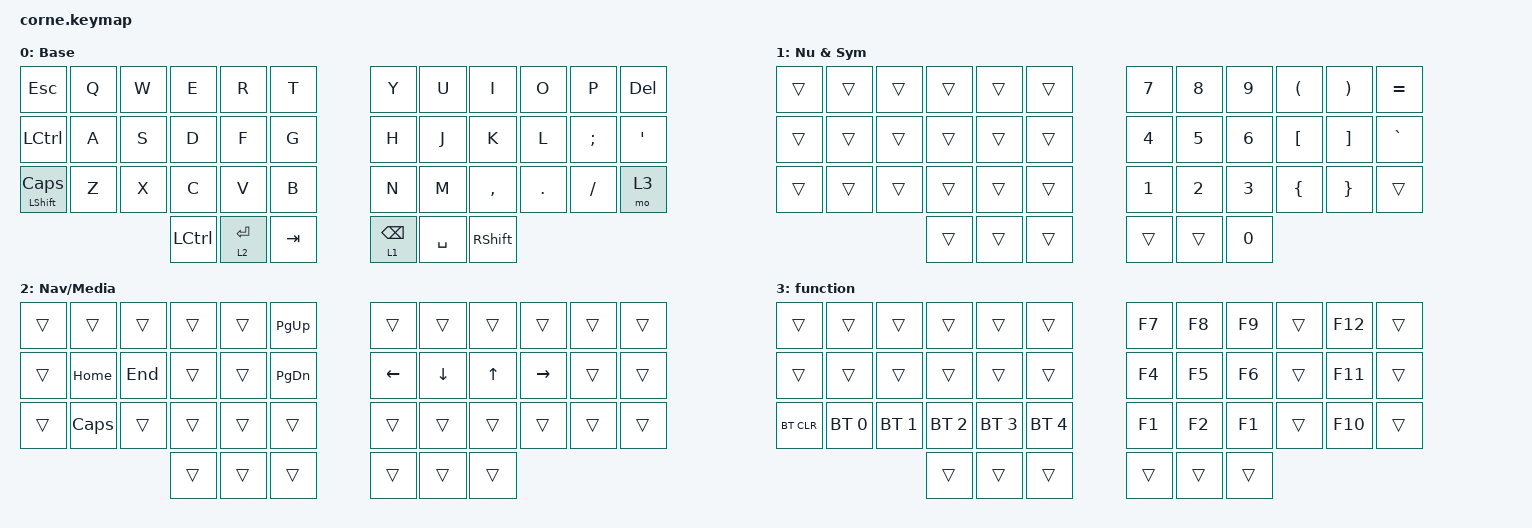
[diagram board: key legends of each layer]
#include <dt-bindings/zmk/keys.h>

/ {
    keymap {
        compatible = "zmk,keymap";

        base {
            bindings = <
                &kp ESC  &kp Q  &kp W      &kp E        &kp R    &kp T              &kp Y      &kp U      &kp I    &kp O     &kp P  &kp DEL
              &kp LCTRL  &kp A  &kp S      &kp D        &kp F    &kp G              &kp H      &kp J      &kp K    &kp L  &kp SEMI  &kp SQT
&mt LEFT_SHIFT CAPSLOCK  &kp Z  &kp X      &kp C        &kp V    &kp B              &kp N      &kp M  &kp COMMA  &kp DOT  &kp FSLH    &mo 3
                                       &kp LCTRL  &lt 2 ENTER  &kp TAB    &lt 1 BACKSPACE  &kp SPACE  &kp RSHFT
            >;

            label = "Base";
        };

        lower {
            bindings = <
&trans  &trans  &trans  &trans  &trans  &trans    &kp N7  &kp N8  &kp N9          &kp LPAR  &kp RIGHT_PARENTHESIS  &kp EQUAL
&trans  &trans  &trans  &trans  &trans  &trans    &kp N4  &kp N5  &kp N6  &kp LEFT_BRACKET      &kp RIGHT_BRACKET  &kp GRAVE
&trans  &trans  &trans  &trans  &trans  &trans    &kp N1  &kp N2  &kp N3    &kp LEFT_BRACE        &kp RIGHT_BRACE     &trans
                        &trans  &trans  &trans    &trans  &trans  &kp N0
            >;

            label = "Nu & Sym";
        };

        raise {
            bindings = <
&trans        &trans   &trans  &trans  &trans    &kp PAGE_UP      &trans    &trans  &trans     &trans  &trans  &trans
&trans      &kp HOME  &kp END  &trans  &trans  &kp PAGE_DOWN    &kp LEFT  &kp DOWN  &kp UP  &kp RIGHT  &trans  &trans
&trans  &kp CAPSLOCK   &trans  &trans  &trans         &trans      &trans    &trans  &trans     &trans  &trans  &trans
                               &trans  &trans         &trans      &trans    &trans  &trans
            >;

            label = "Nav/Media";
        };

        function {
            bindings = <
&trans  &trans  &trans  &trans  &trans  &trans    &kp F7  &kp F8  &kp F9  &trans  &kp F12  &trans
&trans  &trans  &trans  &trans  &trans  &trans    &kp F4  &kp F5  &kp F6  &trans  &kp F11  &trans
&bt BT_CLR &bt BT_SEL 0  &bt BT_SEL 1 &bt BT_SEL 2 &bt BT_SEL 3 &bt BT_SEL 4    &kp F1  &kp F2  &kp F1  &trans  &kp F10 &trans
                        &trans  &trans  &trans    &trans  &trans  &trans
            >;
        };
    };
};
